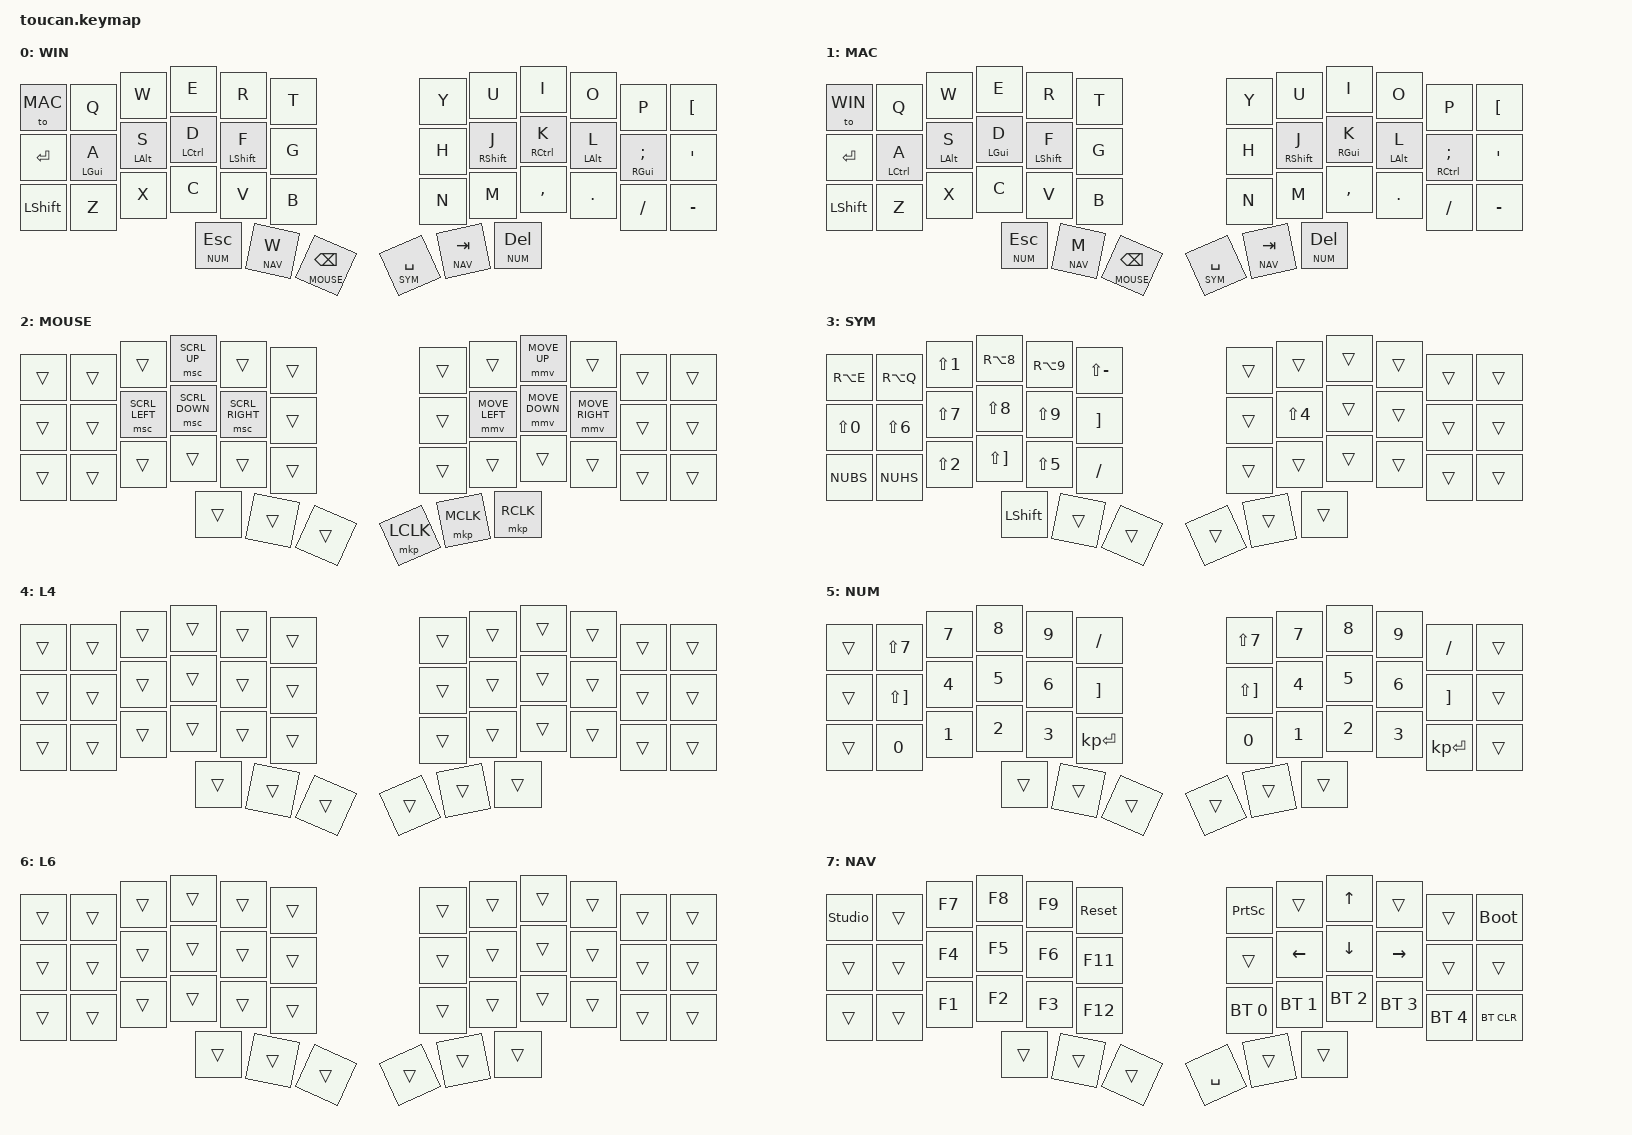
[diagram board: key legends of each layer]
/*
 * Toucan ZMK Keymap
 * Konvertiert von Piantor Vial Layout
 * Mit Urob Timeless Home Row Mods
 * 
 * Layer 0: Base (Windows) - Home Row Mods: GUI-Alt-Ctrl-Shift
 * Layer 1: Base (Mac) - Home Row Mods: Ctrl-Alt-GUI-Shift
 * Layer 2: Mouse
 * Layer 3: Symbols (DE Layout)
 * Layer 4: (leer)
 * Layer 5: Numpad
 * Layer 6: (leer)
 * Layer 7: F-Keys + Arrows
 */

#include <behaviors.dtsi>
#include <dt-bindings/zmk/keys.h>
#include <dt-bindings/zmk/bt.h>
#include <dt-bindings/zmk/mouse.h>

// Layer definitions
#define WIN 0
#define MAC 1
#define MOUSE 2
#define SYM 3
#define EMPTY4 4
#define NUM 5
#define EMPTY6 6
#define NAV 7

// Key position labels for 42-key Toucan
// ╭─────────────────────────────────╮   ╭─────────────────────────────────╮
// │  0   1   2   3   4   5          │   │          6   7   8   9  10  11  │
// │ 12  13  14  15  16  17          │   │         18  19  20  21  22  23  │
// │ 24  25  26  27  28  29          │   │         30  31  32  33  34  35  │
// ╰───────────────╮ 36  37  38      │   │      39  40  41 ╭───────────────╯
//                 ╰─────────────────╯   ╰─────────────────╯
#define KEYS_L 0 1 2 3 4 5 12 13 14 15 16 17 24 25 26 27 28 29    // Left-hand keys
#define KEYS_R 6 7 8 9 10 11 18 19 20 21 22 23 30 31 32 33 34 35  // Right-hand keys
#define THUMBS 36 37 38 39 40 41                                   // Thumb keys

// German key definitions (DE Layout on OS)
#define DE_AUML RALT(Q)    // ä
#define DE_UUML LBKT       // ü = [
#define DE_OUML SEMI       // ö = ;
#define DE_SZ MINUS        // ß = -
#define DE_EURO RALT(E)    // €
#define DE_LCBR RALT(N7)   // {
#define DE_RCBR RALT(N0)   // }
#define DE_LBKT RALT(N8)   // [
#define DE_RBKT RALT(N9)   // ]
#define DE_BSLS RALT(MINUS) // backslash
#define DE_PIPE RALT(NUBS) // |
#define DE_AT RALT(Q)      // @
#define DE_TILD RALT(RBKT) // ~

/ {
    behaviors {
        // Left-hand Home Row Mods (Urob Timeless)
        hml: homerow_mods_left {
            compatible = "zmk,behavior-hold-tap";
            #binding-cells = <2>;
            flavor = "balanced";
            tapping-term-ms = <280>;
            quick-tap-ms = <175>;
            require-prior-idle-ms = <150>;
            bindings = <&kp>, <&kp>;
            hold-trigger-key-positions = <KEYS_R THUMBS>;
            hold-trigger-on-release;
        };

        // Right-hand Home Row Mods (Urob Timeless)
        hmr: homerow_mods_right {
            compatible = "zmk,behavior-hold-tap";
            #binding-cells = <2>;
            flavor = "balanced";
            tapping-term-ms = <280>;
            quick-tap-ms = <175>;
            require-prior-idle-ms = <150>;
            bindings = <&kp>, <&kp>;
            hold-trigger-key-positions = <KEYS_L THUMBS>;
            hold-trigger-on-release;
        };
        
        // Layer-Tap für Thumb Keys
        lt: layer_tap {
            compatible = "zmk,behavior-hold-tap";
            #binding-cells = <2>;
            tapping-term-ms = <200>;
            quick-tap-ms = <150>;
            flavor = "balanced";
            bindings = <&mo>, <&kp>;
        };
    };

    keymap {
        compatible = "zmk,keymap";

        // Layer 0: Windows Base
        win_layer {
            display-name = "WIN";
            bindings = <
// ╭─────────┬─────────┬─────────┬─────────┬─────────┬─────────╮   ╭─────────┬─────────┬─────────┬─────────┬─────────┬─────────╮
    &to MAC   &kp Q     &kp W     &kp E     &kp R     &kp T         &kp Y     &kp U     &kp I     &kp O     &kp P     &kp LBKT
// ├─────────┼─────────┼─────────┼─────────┼─────────┼─────────┤   ├─────────┼─────────┼─────────┼─────────┼─────────┼─────────┤
    &kp RET   &hml LGUI A &hml LALT S &hml LCTRL D &hml LSHFT F &kp G   &kp H   &hmr RSHFT J &hmr RCTRL K &hmr LALT L &hmr RGUI SEMI &kp SQT
// ├─────────┼─────────┼─────────┼─────────┼─────────┼─────────┤   ├─────────┼─────────┼─────────┼─────────┼─────────┼─────────┤
    &kp LSHFT &kp Z     &kp X     &kp C     &kp V     &kp B         &kp N     &kp M     &kp COMMA &kp DOT   &kp FSLH  &kp MINUS
// ╰─────────┴─────────┴─────────┼─────────┼─────────┼─────────┤   ├─────────┼─────────┼─────────┼─────────┴─────────┴─────────╯
                                  &lt NUM ESC &lt NAV W &lt MOUSE BSPC   &lt SYM SPACE &lt NAV TAB &lt NUM DEL
//                               ╰─────────┴─────────┴─────────╯   ╰─────────┴─────────┴─────────╯
            >;
        };

        // Layer 1: Mac Base (Ctrl und GUI vertauscht)
        mac_layer {
            display-name = "MAC";
            bindings = <
// ╭─────────┬─────────┬─────────┬─────────┬─────────┬─────────╮   ╭─────────┬─────────┬─────────┬─────────┬─────────┬─────────╮
    &to WIN   &kp Q     &kp W     &kp E     &kp R     &kp T         &kp Y     &kp U     &kp I     &kp O     &kp P     &kp LBKT
// ├─────────┼─────────┼─────────┼─────────┼─────────┼─────────┤   ├─────────┼─────────┼─────────┼─────────┼─────────┼─────────┤
    &kp RET   &hml LCTRL A &hml LALT S &hml LGUI D &hml LSHFT F &kp G   &kp H   &hmr RSHFT J &hmr RGUI K &hmr LALT L &hmr RCTRL SEMI &kp SQT
// ├─────────┼─────────┼─────────┼─────────┼─────────┼─────────┤   ├─────────┼─────────┼─────────┼─────────┼─────────┼─────────┤
    &kp LSHFT &kp Z     &kp X     &kp C     &kp V     &kp B         &kp N     &kp M     &kp COMMA &kp DOT   &kp FSLH  &kp MINUS
// ╰─────────┴─────────┴─────────┼─────────┼─────────┼─────────┤   ├─────────┼─────────┼─────────┼─────────┴─────────┴─────────╯
                                  &lt NUM ESC &lt NAV M &lt MOUSE BSPC   &lt SYM SPACE &lt NAV TAB &lt NUM DEL
//                               ╰─────────┴─────────┴─────────╯   ╰─────────┴─────────┴─────────╯
            >;
        };

        // Layer 2: Mouse
        mouse_layer {
            display-name = "MOUSE";
            bindings = <
// ╭─────────┬─────────┬─────────┬─────────┬─────────┬─────────╮   ╭─────────┬─────────┬─────────┬─────────┬─────────┬─────────╮
    &trans    &trans    &trans    &msc SCRL_UP &trans &trans        &trans    &trans    &mmv MOVE_UP &trans &trans   &trans
// ├─────────┼─────────┼─────────┼─────────┼─────────┼─────────┤   ├─────────┼─────────┼─────────┼─────────┼─────────┼─────────┤
    &trans    &trans    &msc SCRL_LEFT &msc SCRL_DOWN &msc SCRL_RIGHT &trans   &trans &mmv MOVE_LEFT &mmv MOVE_DOWN &mmv MOVE_RIGHT &trans &trans
// ├─────────┼─────────┼─────────┼─────────┼─────────┼─────────┤   ├─────────┼─────────┼─────────┼─────────┼─────────┼─────────┤
    &trans    &trans    &trans    &trans    &trans    &trans        &trans    &trans    &trans    &trans    &trans    &trans
// ╰─────────┴─────────┴─────────┼─────────┼─────────┼─────────┤   ├─────────┼─────────┼─────────┼─────────┴─────────┴─────────╯
                                  &trans    &trans    &trans        &mkp LCLK &mkp MCLK &mkp RCLK
//                               ╰─────────┴─────────┴─────────╯   ╰─────────┴─────────┴─────────╯
            >;
        };

        // Layer 3: Symbols (German Layout)
        sym_layer {
            display-name = "SYM";
            bindings = <
// ╭─────────┬─────────┬─────────┬─────────┬─────────┬─────────╮   ╭─────────┬─────────┬─────────┬─────────┬─────────┬─────────╮
    &kp RA(E) &kp RA(Q) &kp LS(N1) &kp RA(N8) &kp RA(N9) &kp LS(MINUS)   &trans &trans &trans &trans &trans &trans
// ├─────────┼─────────┼─────────┼─────────┼─────────┼─────────┤   ├─────────┼─────────┼─────────┼─────────┼─────────┼─────────┤
    &kp LS(N0) &kp LS(N6) &kp LS(N7) &kp LS(N8) &kp LS(N9) &kp RBKT   &trans &kp LS(N4) &trans &trans &trans &trans
// ├─────────┼─────────┼─────────┼─────────┼─────────┼─────────┤   ├─────────┼─────────┼─────────┼─────────┼─────────┼─────────┤
    &kp NUBS  &kp NUHS  &kp LS(N2) &kp LS(RBKT) &kp LS(N5) &kp FSLH   &trans &trans &trans &trans &trans &trans
// ╰─────────┴─────────┴─────────┼─────────┼─────────┼─────────┤   ├─────────┼─────────┼─────────┼─────────┴─────────┴─────────╯
                                  &kp LSHFT &trans    &trans        &trans    &trans    &trans
//                               ╰─────────┴─────────┴─────────╯   ╰─────────┴─────────┴─────────╯
            >;
        };

        // Layer 4: Empty
        empty4_layer {
            display-name = "L4";
            bindings = <
// ╭─────────┬─────────┬─────────┬─────────┬─────────┬─────────╮   ╭─────────┬─────────┬─────────┬─────────┬─────────┬─────────╮
    &trans    &trans    &trans    &trans    &trans    &trans        &trans    &trans    &trans    &trans    &trans    &trans
// ├─────────┼─────────┼─────────┼─────────┼─────────┼─────────┤   ├─────────┼─────────┼─────────┼─────────┼─────────┼─────────┤
    &trans    &trans    &trans    &trans    &trans    &trans        &trans    &trans    &trans    &trans    &trans    &trans
// ├─────────┼─────────┼─────────┼─────────┼─────────┼─────────┤   ├─────────┼─────────┼─────────┼─────────┼─────────┼─────────┤
    &trans    &trans    &trans    &trans    &trans    &trans        &trans    &trans    &trans    &trans    &trans    &trans
// ╰─────────┴─────────┴─────────┼─────────┼─────────┼─────────┤   ├─────────┼─────────┼─────────┼─────────┴─────────┴─────────╯
                                  &trans    &trans    &trans        &trans    &trans    &trans
//                               ╰─────────┴─────────┴─────────╯   ╰─────────┴─────────┴─────────╯
            >;
        };

        // Layer 5: Numpad
        num_layer {
            display-name = "NUM";
            bindings = <
// ╭─────────┬─────────┬─────────┬─────────┬─────────┬─────────╮   ╭─────────┬─────────┬─────────┬─────────┬─────────┬─────────╮
    &trans    &kp LS(N7) &kp N7   &kp N8    &kp N9    &kp FSLH      &kp LS(N7) &kp N7   &kp N8    &kp N9    &kp FSLH  &trans
// ├─────────┼─────────┼─────────┼─────────┼─────────┼─────────┤   ├─────────┼─────────┼─────────┼─────────┼─────────┼─────────┤
    &trans    &kp LS(RBKT) &kp N4 &kp N5    &kp N6    &kp RBKT      &kp LS(RBKT) &kp N4 &kp N5    &kp N6    &kp RBKT  &trans
// ├─────────┼─────────┼─────────┼─────────┼─────────┼─────────┤   ├─────────┼─────────┼─────────┼─────────┼─────────┼─────────┤
    &trans    &kp N0    &kp N1    &kp N2    &kp N3    &kp KP_ENTER  &kp N0    &kp N1    &kp N2    &kp N3    &kp KP_ENTER &trans
// ╰─────────┴─────────┴─────────┼─────────┼─────────┼─────────┤   ├─────────┼─────────┼─────────┼─────────┴─────────┴─────────╯
                                  &trans    &trans    &trans        &trans    &trans    &trans
//                               ╰─────────┴─────────┴─────────╯   ╰─────────┴─────────┴─────────╯
            >;
        };

        // Layer 6: Empty
        empty6_layer {
            display-name = "L6";
            bindings = <
// ╭─────────┬─────────┬─────────┬─────────┬─────────┬─────────╮   ╭─────────┬─────────┬─────────┬─────────┬─────────┬─────────╮
    &trans    &trans    &trans    &trans    &trans    &trans        &trans    &trans    &trans    &trans    &trans    &trans
// ├─────────┼─────────┼─────────┼─────────┼─────────┼─────────┤   ├─────────┼─────────┼─────────┼─────────┼─────────┼─────────┤
    &trans    &trans    &trans    &trans    &trans    &trans        &trans    &trans    &trans    &trans    &trans    &trans
// ├─────────┼─────────┼─────────┼─────────┼─────────┼─────────┤   ├─────────┼─────────┼─────────┼─────────┼─────────┼─────────┤
    &trans    &trans    &trans    &trans    &trans    &trans        &trans    &trans    &trans    &trans    &trans    &trans
// ╰─────────┴─────────┴─────────┼─────────┼─────────┼─────────┤   ├─────────┼─────────┼─────────┼─────────┴─────────┴─────────╯
                                  &trans    &trans    &trans        &trans    &trans    &trans
//                               ╰─────────┴─────────┴─────────╯   ╰─────────┴─────────┴─────────╯
            >;
        };

        // Layer 7: F-Keys + Navigation + Bluetooth
        nav_layer {
            display-name = "NAV";
            bindings = <
// ╭─────────┬─────────┬─────────┬─────────┬─────────┬─────────╮   ╭─────────┬─────────┬─────────┬─────────┬─────────┬─────────╮
    &studio_unlock &trans &kp F7 &kp F8   &kp F9    &sys_reset    &kp PSCRN &trans    &kp UP    &trans    &trans    &bootloader
// ├─────────┼─────────┼─────────┼─────────┼─────────┼─────────┤   ├─────────┼─────────┼─────────┼─────────┼─────────┼─────────┤
    &trans    &trans    &kp F4    &kp F5    &kp F6    &kp F11       &trans    &kp LEFT  &kp DOWN  &kp RIGHT &trans    &trans
// ├─────────┼─────────┼─────────┼─────────┼─────────┼─────────┤   ├─────────┼─────────┼─────────┼─────────┼─────────┼─────────┤
    &trans    &trans    &kp F1    &kp F2    &kp F3    &kp F12       &bt BT_SEL 0 &bt BT_SEL 1 &bt BT_SEL 2 &bt BT_SEL 3 &bt BT_SEL 4 &bt BT_CLR
// ╰─────────┴─────────┴─────────┼─────────┼─────────┼─────────┤   ├─────────┼─────────┼─────────┼─────────┴─────────┴─────────╯
                                  &trans    &trans    &trans        &kp SPACE &trans    &trans
//                               ╰─────────┴─────────┴─────────╯   ╰─────────┴─────────┴─────────╯
            >;
        };
    };
};
